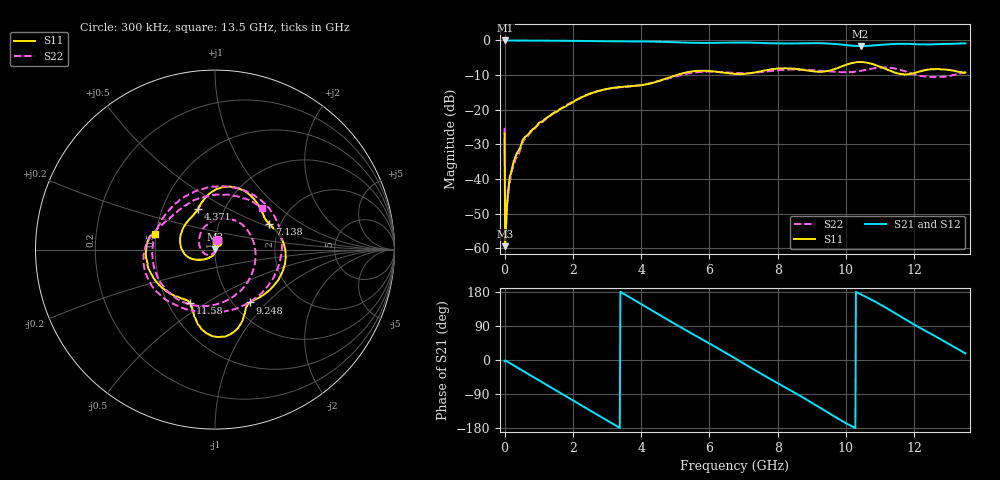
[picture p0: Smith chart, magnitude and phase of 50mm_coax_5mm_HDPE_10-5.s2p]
!Agilent Technologies,N5230C,MY48100320,A.08.04.10
!Agilent N5230C: A.08.04.10
!Date: Wednesday, October 05, 2016 23:45:23
!Correction: S11(Full 2 Port(1,2))
!S21(Full 2 Port(1,2))
!S12(Full 2 Port(1,2))
!S22(Full 2 Port(1,2))
!S2P File: Measurements: S11, S21, S12, S22:
# Hz S  dB  R 50
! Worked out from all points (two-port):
!   801 points, 300 kHz to 13.5 GHz, reference 50 ohm
!   highest |S21| = 0.01 dB at 17.17 MHz (marker M1); lowest = -1.6 dB at 10.43 GHz (marker M2)
!   |S21| within 3 dB of the highest: start of sweep to end of sweep
!   lowest |S11| = -59.4 dB at 17.17 MHz (marker M3), VSWR 1.00, Z = 49.9 + j0.0697 ohm
!   |S11| at or under -10 dB: start of sweep to 5.037 GHz
!   |S22| runs from -56.9 to -7.8 dB; largest |S21 - S12| = 0.0046
!   S11 on the Smith chart (normalised r, x): 300 kHz: 1.01, +0.09; 4.371 GHz: 0.75, +0.37; 7.138 GHz: 1.75, +0.56; 9.248 GHz: 1.19, -0.80; 11.58 GHz: 0.64, -0.43; 13.5 GHz: 0.49, +0.10
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300000  -26.82 78.7  -0.07 -2.9  -0.07 -2.8  -25.25 77.2
1.717462e7  -59.41 139.3  0.01 -1.1  0.00 -1.1  -56.94 84.1
8.467312e7  -45.55 -72.9  -0.01 -4.6  -0.01 -4.6  -46.80 -85.5
2.196701e8  -36.94 -94.3  -0.02 -11.8  -0.02 -11.8  -37.28 -98.4
5.740372e8  -28.20 -114.5  -0.03 -30.7  -0.03 -30.7  -28.61 -126.1
1.434643e9  -20.91 -141.2  -0.06 -76.5  -0.07 -76.4  -21.02 167.0
2.2615e9  -16.38 -162.8  -0.14 -120.4  -0.14 -120.4  -16.29 102.0
3.324601e9  -13.51 151.2  -0.25 -176.5  -0.25 -176.5  -13.58 34.2
4.370828e9  -12.16 112.4  -0.34 127.9  -0.34 127.9  -12.12 -37.1
4.505825e9  -11.74 108.9  -0.36 120.7  -0.36 120.7  -11.77 -47.5
5.535177e9  -8.87 77.0  -0.67 67.2  -0.68 67.1  -9.32 -122.9
6.75015e9  -9.66 34.0  -0.60 4.4  -0.61 4.4  -9.37 154.5
7.138266e9  -9.53 25.3  -0.62 -16.4  -0.62 -16.4  -9.41 123.3
8.10012e9  -8.03 -6.4  -0.86 -66.1  -0.86 -66.1  -8.58 52.3
9.01135e9  -8.86 -49.2  -0.78 -113.2  -0.78 -113.3  -8.57 0.4
9.247594e9  -9.04 -56.4  -0.79 -126.2  -0.79 -126.3  -8.74 -14.3
9.787582e9  -7.85 -66.7  -1.09 -155.7  -1.09 -155.7  -9.07 -56.5
1.042882e10  -6.24 -86.5  -1.61 173.6  -1.60 173.5  -8.78 -111.4
1.125567e10  -8.61 -108.8  -1.07 133.5  -1.07 133.4  -7.84 -168.5
1.157629e10  -9.61 -115.0  -0.96 116.0  -0.96 115.9  -8.46 173.2
1.253815e10  -8.24 -166.8  -1.13 66.7  -1.14 66.7  -10.59 127.4
1.35e10  -9.29 165.3  -0.83 17.2  -0.83 17.2  -9.09 41.9
